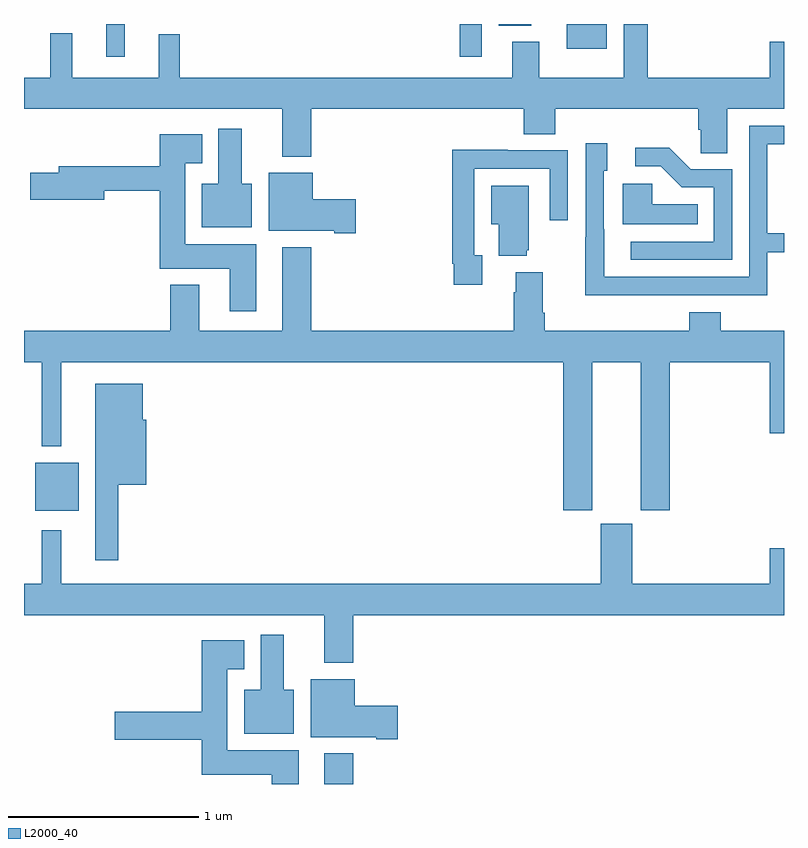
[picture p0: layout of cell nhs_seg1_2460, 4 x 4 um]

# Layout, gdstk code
import gdstk
lib = gdstk.Library(unit=1e-6, precision=1e-09)
def R(c, l, rs):  # rectangles x0, y0, x1, y1
    for r in rs: c.add(gdstk.rectangle(r[:2], r[2:], *l))
def P(c, l, *ps):  # polygons
    for p in ps: c.add(gdstk.Polygon(p, *l))
L2000_40 = (2000, 40)

nhs_seg1_2460 = lib.new_cell('nhs_seg1_2460')
R(nhs_seg1_2460, L2000_40, [(246.581,528.199,246.734,528.361), (245.06,529.637,245.287,529.891), (245.432,532.026,245.529,532.199), (247.294,532.026,247.41,532.199), (247.856,532.07,248.068,532.199), (247.499,532.19,247.669,532.199)])
P(nhs_seg1_2460, L2000_40, [(246.512,531.752),(247.631,531.752),(247.631,531.619),(247.796,531.619),(247.796,531.752),(248.549,531.752),(248.549,531.643),(248.562,531.643),(248.562,531.52),(248.701,531.52),(248.701,531.752),(249,531.752),(249,532.105),(248.924,532.105),(248.924,531.916),(248.282,531.916),(248.282,532.198),(248.156,532.198),(248.156,531.916),(247.711,531.916),(247.711,532.105),(247.571,532.105),(247.571,531.916),(245.82,531.916),(245.82,532.144),(245.708,532.144),(245.708,531.916),(245.255,531.916),(245.255,532.15),(245.137,532.15),(245.137,531.916),(245,531.916),(245,531.752),(246.359,531.752),(246.359,531.5),(246.512,531.5)],
  [(248.417,530.772),(248.913,530.772),(248.913,530.997),(249,530.997),(249,531.098),(248.913,531.098),(248.913,531.567),(249,531.567),(249,531.663),(248.817,531.663),(248.817,530.868),(248.053,530.868),(248.053,531.119),(248.052,531.119),(248.052,531.426),(248.071,531.426),(248.071,531.571),(247.956,531.571),(247.956,531.077),(247.954,531.077),(247.954,530.771),(248.417,530.771)],
  [(246.199,531.358),(246.145,531.358),(246.145,531.649),(246.023,531.649),(246.023,531.358),(245.936,531.358),(245.936,531.128),(246.199,531.128)],
  [(246.223,531.04),(245.848,531.04),(245.848,531.467),(245.938,531.467),(245.938,531.619),(245.714,531.619),(245.714,531.451),(245.183,531.451),(245.183,531.417),(245.034,531.417),(245.034,531.275),(245.422,531.275),(245.422,531.322),(245.714,531.322),(245.714,530.912),(246.083,530.912),(246.083,530.688),(246.223,530.688)],
  [(248.727,531.435),(248.508,531.435),(248.395,531.548),(248.217,531.548),(248.217,531.45),(248.351,531.45),(248.462,531.339),(248.631,531.339),(248.631,531.054),(248.193,531.054),(248.193,530.958),(248.727,530.958)],
  [(247.411,530.982),(247.371,530.982),(247.371,531.438),(247.767,531.438),(247.767,531.165),(247.863,531.165),(247.863,531.534),(247.547,531.534),(247.547,531.536),(247.255,531.536),(247.255,530.938),(247.263,530.938),(247.263,530.826),(247.411,530.826)],
  [(246.745,531.276),(246.52,531.276),(246.52,531.415),(246.287,531.415),(246.287,531.11),(246.632,531.11),(246.632,531.098),(246.745,531.098)],
  [(248.546,531.25),(248.307,531.25),(248.307,531.358),(248.15,531.358),(248.15,531.146),(248.546,531.146)],
  [(247.646,531.009),(247.657,531.009),(247.657,531.349),(247.46,531.349),(247.46,531.146),(247.499,531.146),(247.499,530.978),(247.646,530.978)],
  [(247.99,530.42),(248.246,530.42),(248.246,529.641),(248.399,529.641),(248.399,530.42),(248.924,530.42),(248.924,530.046),(249,530.046),(249,530.584),(248.666,530.584),(248.666,530.683),(248.501,530.683),(248.501,530.584),(247.742,530.584),(247.742,530.68),(247.729,530.68),(247.729,530.893),(247.589,530.893),(247.589,530.786),(247.577,530.786),(247.577,530.584),(246.512,530.584),(246.512,531.025),(246.359,531.025),(246.359,530.584),(245.923,530.584),(245.923,530.827),(245.771,530.827),(245.771,530.584),(245,530.584),(245,530.42),(245.093,530.42),(245.093,529.976),(245.197,529.976),(245.197,530.42),(247.838,530.42),(247.838,529.641),(247.99,529.641)],
  [(245.497,529.775),(245.644,529.775),(245.644,530.115),(245.626,530.115),(245.626,530.305),(245.375,530.305),(245.375,529.377),(245.497,529.377)],
  [(246.734,529.088),(249,529.088),(249,529.441),(248.924,529.441),(248.924,529.252),(248.2,529.252),(248.2,529.569),(248.036,529.569),(248.036,529.252),(245.197,529.252),(245.197,529.534),(245.093,529.534),(245.093,529.252),(245,529.252),(245,529.088),(246.581,529.088),(246.581,528.836),(246.734,528.836)],
  [(246.421,528.694),(246.367,528.694),(246.367,528.985),(246.245,528.985),(246.245,528.694),(246.158,528.694),(246.158,528.464),(246.421,528.464)],
  [(246.445,528.376),(246.07,528.376),(246.07,528.803),(246.16,528.803),(246.16,528.955),(245.936,528.955),(245.936,528.578),(245.478,528.578),(245.478,528.431),(245.936,528.431),(245.936,528.248),(246.305,528.248),(246.305,528.199),(246.445,528.199)],
  [(246.967,528.612),(246.742,528.612),(246.742,528.751),(246.509,528.751),(246.509,528.446),(246.854,528.446),(246.854,528.434),(246.967,528.434)])

lib.write_gds('nhs_seg1_2460.gds')
